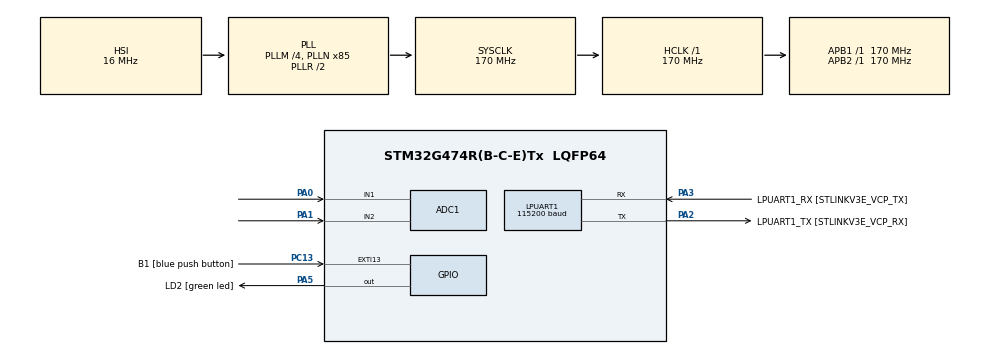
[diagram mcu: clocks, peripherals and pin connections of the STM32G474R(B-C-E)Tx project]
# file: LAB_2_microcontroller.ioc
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ADC1.Channel-0\#ChannelRegularConversion=ADC_CHANNEL_1
ADC1.Channel-1\#ChannelRegularConversion=ADC_CHANNEL_2
ADC1.ContinuousConvMode=ENABLE
ADC1.DMAContinuousRequests=ENABLE
ADC1.NbrOfConversion=2
ADC1.NbrOfConversionFlag=1
ADC1.OffsetNumber-0\#ChannelRegularConversion=ADC_OFFSET_NONE
ADC1.OffsetNumber-1\#ChannelRegularConversion=ADC_OFFSET_NONE
ADC1.Rank-0\#ChannelRegularConversion=1
ADC1.Rank-1\#ChannelRegularConversion=2
ADC1.SamplingTime-0\#ChannelRegularConversion=ADC_SAMPLETIME_640CYCLES_5
ADC1.SamplingTime-1\#ChannelRegularConversion=ADC_SAMPLETIME_640CYCLES_5
ADC1.master=1
Dma.ADC1.0.Direction=DMA_PERIPH_TO_MEMORY
Dma.ADC1.0.EventEnable=DISABLE
Dma.ADC1.0.Instance=DMA1_Channel1
Dma.ADC1.0.MemDataAlignment=DMA_MDATAALIGN_HALFWORD
Dma.ADC1.0.MemInc=DMA_MINC_ENABLE
Dma.ADC1.0.Mode=DMA_CIRCULAR
Dma.ADC1.0.PeriphDataAlignment=DMA_PDATAALIGN_HALFWORD
Dma.ADC1.0.PeriphInc=DMA_PINC_DISABLE
Dma.ADC1.0.Polarity=HAL_DMAMUX_REQ_GEN_RISING
Dma.ADC1.0.Priority=DMA_PRIORITY_LOW
Dma.ADC1.0.RequestNumber=1
Dma.ADC1.0.SignalID=NONE
Dma.ADC1.0.SyncEnable=DISABLE
Dma.ADC1.0.SyncPolarity=HAL_DMAMUX_SYNC_NO_EVENT
Dma.ADC1.0.SyncRequestNumber=1
Dma.ADC1.0.SyncSignalID=NONE
Dma.Request0=ADC1
LPUART1.BaudRate=115200
LPUART1.WordLength=UART_WORDLENGTH_8B
Mcu.Family=STM32G4
Mcu.Name=STM32G474R(B-C-E)Tx
Mcu.Package=LQFP64
NVIC.DMA1_Channel1_IRQn=true\:0\:0\:false\:false\:true\:false\:true\:true
NVIC.EXTI15_10_IRQn=true\:0\:0\:false\:false\:true\:true\:true\:true
NVIC.PriorityGroup=NVIC_PRIORITYGROUP_4
PA0.Mode=IN1-Single-Ended
PA0.Signal=ADC1_IN1
PA1.Mode=IN2-Single-Ended
PA1.Signal=ADC1_IN2
PA13.GPIO_Label=T_SWDIO
PA13.Mode=Serial_Wire
PA13.Signal=SYS_JTMS-SWDIO
PA14.GPIO_Label=T_SWCLK
PA14.Mode=Serial_Wire
PA14.Signal=SYS_JTCK-SWCLK
PA2.GPIO_Label=LPUART1_TX [STLINKV3E_VCP_RX]
PA2.Mode=Asynchronous
PA2.Signal=LPUART1_TX
PA3.GPIO_Label=LPUART1_RX [STLINKV3E_VCP_TX]
PA3.Mode=Asynchronous
PA3.Signal=LPUART1_RX
PA5.GPIO_Label=LD2 [green led]
PA5.Signal=GPIO_Output
PB3.GPIO_Label=T_SWO
PB3.Signal=SYS_JTDO-SWO
PC13.GPIO_Label=B1 [blue push button]
PC13.Signal=GPXTI13
PC14-OSC32_IN.Mode=LSE-External-Oscillator
PC14-OSC32_IN.Signal=RCC_OSC32_IN
PC15-OSC32_OUT.Mode=LSE-External-Oscillator
PC15-OSC32_OUT.Signal=RCC_OSC32_OUT
PF0-OSC_IN.Mode=HSE-External-Oscillator
PF0-OSC_IN.Signal=RCC_OSC_IN
PF1-OSC_OUT.Mode=HSE-External-Oscillator
PF1-OSC_OUT.Signal=RCC_OSC_OUT
ProjectManager.HeapSize=0x200
ProjectManager.StackSize=0x400
ProjectManager.TargetToolchain=STM32CubeIDE
RCC.ADC12Freq_Value=170000000
RCC.ADC345Freq_Value=170000000
RCC.AHBFreq_Value=170000000
RCC.APB1Freq_Value=170000000
RCC.APB1TimFreq_Value=170000000
RCC.APB2Freq_Value=170000000
RCC.APB2TimFreq_Value=170000000
RCC.CortexFreq_Value=170000000
RCC.EXTERNAL_CLOCK_VALUE=12288000
RCC.HCLKFreq_Value=170000000
RCC.HSE_VALUE=24000000
RCC.HSI48_VALUE=48000000
RCC.HSI_VALUE=16000000
RCC.PLLM=RCC_PLLM_DIV4
RCC.PLLN=85
RCC.RTCClockSelection=RCC_RTCCLKSOURCE_LSE
RCC.SYSCLKFreq_VALUE=170000000
RCC.SYSCLKSource=RCC_SYSCLKSOURCE_PLLCLK
RCC.USBFreq_Value=170000000
RCC.VCOOutputFreq_Value=340000000
VP_SYS_VS_DBSignals.Mode=DisableDeadBatterySignals
board=NUCLEO-G474RE

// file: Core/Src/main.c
/* USER CODE BEGIN Header */
/**
  ******************************************************************************
  * @file           : main.c
  * @brief          : Main program body
  ******************************************************************************
  * @attention
  *
  * Copyright (c) 2024 STMicroelectronics.
  * All rights reserved.
  *
  * This software is licensed under terms that can be found in the LICENSE file
  * in the root directory of this software component.
  * If no LICENSE file comes with this software, it is provided AS-IS.
  *
  ******************************************************************************
  */
/* USER CODE END Header */
#include "main.h"

ADC_HandleTypeDef hadc1;
DMA_HandleTypeDef hdma_adc1;

UART_HandleTypeDef hlpuart1;

/* USER CODE BEGIN PV */
uint16_t mode = 1;
uint16_t ADC_RawRead[10]={0};
uint32_t avg_adc1;
uint32_t avg_adc2;
/* USER CODE END PV */

void SystemClock_Config(void);
static void MX_GPIO_Init(void);
static void MX_DMA_Init(void);
static void MX_LPUART1_UART_Init(void);
static void MX_ADC1_Init(void);
/* USER CODE BEGIN PFP */
void led2();
void Average_ADC_Value();
/* USER CODE END PFP */

int main(void)
{

  /* MCU Configuration--------------------------------------------------------*/

  /* Reset of all peripherals, Initializes the Flash interface and the Systick. */
  HAL_Init();

  /* Configure the system clock */
  SystemClock_Config();

  /* Initialize all configured peripherals */
  MX_GPIO_Init();
  MX_DMA_Init();
  MX_LPUART1_UART_Init();
  MX_ADC1_Init();
  /* USER CODE BEGIN 2 */
  HAL_ADCEx_Calibration_Start(&hadc1, ADC_SINGLE_ENDED);
  HAL_ADC_Start_DMA(&hadc1, ADC_RawRead, 10);

  /* USER CODE END 2 */

  /* Infinite loop */
  while (1)
  {

    /* USER CODE BEGIN 3 */
	  Average_ADC_Value();
	  led2();
  }
  /* USER CODE END 3 */
}

void SystemClock_Config(void)
{
  RCC_OscInitTypeDef RCC_OscInitStruct = {0};
  RCC_ClkInitTypeDef RCC_ClkInitStruct = {0};

  /** Configure the main internal regulator output voltage
  */
  HAL_PWREx_ControlVoltageScaling(PWR_REGULATOR_VOLTAGE_SCALE1_BOOST);

  /** Initializes the RCC Oscillators according to the specified parameters
  * in the RCC_OscInitTypeDef structure.
  */
  RCC_OscInitStruct.OscillatorType = RCC_OSCILLATORTYPE_HSI;
  RCC_OscInitStruct.HSIState = RCC_HSI_ON;
  RCC_OscInitStruct.HSICalibrationValue = RCC_HSICALIBRATION_DEFAULT;
  RCC_OscInitStruct.PLL.PLLState = RCC_PLL_ON;
  RCC_OscInitStruct.PLL.PLLSource = RCC_PLLSOURCE_HSI;
  RCC_OscInitStruct.PLL.PLLM = RCC_PLLM_DIV4;
  RCC_OscInitStruct.PLL.PLLN = 85;
  RCC_OscInitStruct.PLL.PLLP = RCC_PLLP_DIV2;
  RCC_OscInitStruct.PLL.PLLQ = RCC_PLLQ_DIV2;
  RCC_OscInitStruct.PLL.PLLR = RCC_PLLR_DIV2;
  if (HAL_RCC_OscConfig(&RCC_OscInitStruct) != HAL_OK)
  {
    Error_Handler();
  }

  /** Initializes the CPU, AHB and APB buses clocks
  */
  RCC_ClkInitStruct.ClockType = RCC_CLOCKTYPE_HCLK|RCC_CLOCKTYPE_SYSCLK
                              |RCC_CLOCKTYPE_PCLK1|RCC_CLOCKTYPE_PCLK2;
  RCC_ClkInitStruct.SYSCLKSource = RCC_SYSCLKSOURCE_PLLCLK;
  RCC_ClkInitStruct.AHBCLKDivider = RCC_SYSCLK_DIV1;
  RCC_ClkInitStruct.APB1CLKDivider = RCC_HCLK_DIV1;
  RCC_ClkInitStruct.APB2CLKDivider = RCC_HCLK_DIV1;

  if (HAL_RCC_ClockConfig(&RCC_ClkInitStruct, FLASH_LATENCY_4) != HAL_OK)
  {
    Error_Handler();
  }
}

static void MX_ADC1_Init(void)
{

  ADC_MultiModeTypeDef multimode = {0};
  ADC_ChannelConfTypeDef sConfig = {0};

  /** Common config
  */
  hadc1.Instance = ADC1;
  hadc1.Init.ClockPrescaler = ADC_CLOCK_SYNC_PCLK_DIV4;
  hadc1.Init.Resolution = ADC_RESOLUTION_12B;
  hadc1.Init.DataAlign = ADC_DATAALIGN_RIGHT;
  hadc1.Init.GainCompensation = 0;
  hadc1.Init.ScanConvMode = ADC_SCAN_ENABLE;
  hadc1.Init.EOCSelection = ADC_EOC_SINGLE_CONV;
  hadc1.Init.LowPowerAutoWait = DISABLE;
  hadc1.Init.ContinuousConvMode = ENABLE;
  hadc1.Init.NbrOfConversion = 2;
  hadc1.Init.DiscontinuousConvMode = DISABLE;
  hadc1.Init.ExternalTrigConv = ADC_SOFTWARE_START;
  hadc1.Init.ExternalTrigConvEdge = ADC_EXTERNALTRIGCONVEDGE_NONE;
  hadc1.Init.DMAContinuousRequests = ENABLE;
  hadc1.Init.Overrun = ADC_OVR_DATA_PRESERVED;
  hadc1.Init.OversamplingMode = DISABLE;
  if (HAL_ADC_Init(&hadc1) != HAL_OK)
  {
    Error_Handler();
  }

  /** Configure the ADC multi-mode
  */
  multimode.Mode = ADC_MODE_INDEPENDENT;
  if (HAL_ADCEx_MultiModeConfigChannel(&hadc1, &multimode) != HAL_OK)
  {
    Error_Handler();
  }

  /** Configure Regular Channel
  */
  sConfig.Channel = ADC_CHANNEL_1;
  sConfig.Rank = ADC_REGULAR_RANK_1;
  sConfig.SamplingTime = ADC_SAMPLETIME_640CYCLES_5;
  sConfig.SingleDiff = ADC_SINGLE_ENDED;
  sConfig.OffsetNumber = ADC_OFFSET_NONE;
  sConfig.Offset = 0;
  if (HAL_ADC_ConfigChannel(&hadc1, &sConfig) != HAL_OK)
  {
    Error_Handler();
  }

  /** Configure Regular Channel
  */
  sConfig.Channel = ADC_CHANNEL_2;
  sConfig.Rank = ADC_REGULAR_RANK_2;
  if (HAL_ADC_ConfigChannel(&hadc1, &sConfig) != HAL_OK)
  {
    Error_Handler();
  }

}

static void MX_LPUART1_UART_Init(void)
{

  hlpuart1.Instance = LPUART1;
  hlpuart1.Init.BaudRate = 115200;
  hlpuart1.Init.WordLength = UART_WORDLENGTH_8B;
  hlpuart1.Init.StopBits = UART_STOPBITS_1;
  hlpuart1.Init.Parity = UART_PARITY_NONE;
  hlpuart1.Init.Mode = UART_MODE_TX_RX;
  hlpuart1.Init.HwFlowCtl = UART_HWCONTROL_NONE;
  hlpuart1.Init.OneBitSampling = UART_ONE_BIT_SAMPLE_DISABLE;
  hlpuart1.Init.ClockPrescaler = UART_PRESCALER_DIV1;
  hlpuart1.AdvancedInit.AdvFeatureInit = UART_ADVFEATURE_NO_INIT;
  if (HAL_UART_Init(&hlpuart1) != HAL_OK)
  {
    Error_Handler();
  }
  if (HAL_UARTEx_SetTxFifoThreshold(&hlpuart1, UART_TXFIFO_THRESHOLD_1_8) != HAL_OK)
  {
    Error_Handler();
  }
  if (HAL_UARTEx_SetRxFifoThreshold(&hlpuart1, UART_RXFIFO_THRESHOLD_1_8) != HAL_OK)
  {
    Error_Handler();
  }
  if (HAL_UARTEx_DisableFifoMode(&hlpuart1) != HAL_OK)
  {
    Error_Handler();
  }

}

static void MX_DMA_Init(void)
{

  /* DMA controller clock enable */
  __HAL_RCC_DMAMUX1_CLK_ENABLE();
  __HAL_RCC_DMA1_CLK_ENABLE();

  /* DMA interrupt init */
  /* DMA1_Channel1_IRQn interrupt configuration */
  HAL_NVIC_SetPriority(DMA1_Channel1_IRQn, 0, 0);
  HAL_NVIC_EnableIRQ(DMA1_Channel1_IRQn);

}

static void MX_GPIO_Init(void)
{
  GPIO_InitTypeDef GPIO_InitStruct = {0};

  /* GPIO Ports Clock Enable */
  __HAL_RCC_GPIOC_CLK_ENABLE();
  __HAL_RCC_GPIOF_CLK_ENABLE();
  __HAL_RCC_GPIOA_CLK_ENABLE();
  __HAL_RCC_GPIOB_CLK_ENABLE();

  /*Configure GPIO pin Output Level */
  HAL_GPIO_WritePin(LD2_GPIO_Port, LD2_Pin, GPIO_PIN_RESET);

  /*Configure GPIO pin : B1_Pin */
  GPIO_InitStruct.Pin = B1_Pin;
  GPIO_InitStruct.Mode = GPIO_MODE_IT_RISING;
  GPIO_InitStruct.Pull = GPIO_NOPULL;
  HAL_GPIO_Init(B1_GPIO_Port, &GPIO_InitStruct);

  /*Configure GPIO pin : LD2_Pin */
  GPIO_InitStruct.Pin = LD2_Pin;
  GPIO_InitStruct.Mode = GPIO_MODE_OUTPUT_PP;
  GPIO_InitStruct.Pull = GPIO_NOPULL;
  GPIO_InitStruct.Speed = GPIO_SPEED_FREQ_LOW;
  HAL_GPIO_Init(LD2_GPIO_Port, &GPIO_InitStruct);

  /* EXTI interrupt init*/
  HAL_NVIC_SetPriority(EXTI15_10_IRQn, 0, 0);
  HAL_NVIC_EnableIRQ(EXTI15_10_IRQn);

}

/* USER CODE BEGIN 4 */
void HAL_GPIO_EXTI_Callback(uint16_t GPIO_Pin)
{
	if(GPIO_Pin == GPIO_PIN_13){
		if (mode == 1){
				mode = 2;

			}
		else if (mode == 2){
				mode = 3;

		}
		else {
				mode = 1;

			}
		}
}
void led2(){
	if (mode == 1){
			HAL_GPIO_WritePin(GPIOA, GPIO_PIN_5,GPIO_PIN_SET);
			}

	else if (mode == 2){
		HAL_GPIO_WritePin(GPIOA, GPIO_PIN_5,GPIO_PIN_RESET);

	}
	else if (mode == 3) {
		HAL_GPIO_TogglePin(GPIOA, GPIO_PIN_5);
		HAL_Delay(500);
	}

}

void Average_ADC_Value() {
    uint32_t sum_adc1 = 0, sum_adc2 = 0;
    for (uint32_t i = 0; i < 5; i++) {
        sum_adc1 += ADC_RawRead[i*2];
        sum_adc2 += ADC_RawRead[i*2+1];
//        sum_adc3 += ADC_RawRead[i*3+2];
    }
    avg_adc1 = sum_adc1 / 5;
    avg_adc2 = sum_adc2 / 5;
//    avg_adc3 = sum_adc3 / 10;

}
/* USER CODE END 4 */

void Error_Handler(void)
{
  __disable_irq();
  while (1)
  {
  }
}
